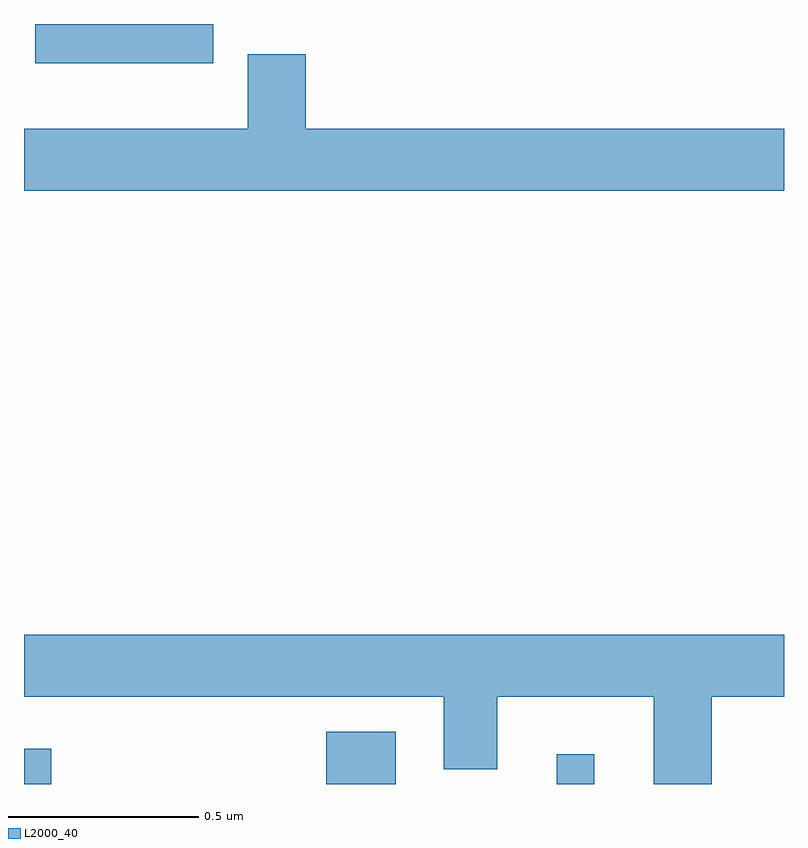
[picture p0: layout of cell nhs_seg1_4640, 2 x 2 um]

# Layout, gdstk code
import gdstk
lib = gdstk.Library(unit=1e-6, precision=1e-09)
def R(c, l, rs):  # rectangles x0, y0, x1, y1
    for r in rs: c.add(gdstk.rectangle(r[:2], r[2:], *l))
def P(c, l, *ps):  # polygons
    for p in ps: c.add(gdstk.Polygon(p, *l))
L2000_40 = (2000, 40)

nhs_seg1_4640 = lib.new_cell('nhs_seg1_4640')
R(nhs_seg1_4640, L2000_40, [(169,522.199,169.072,522.292), (169.796,522.199,169.978,522.337), (170.402,522.199,170.5,522.277), (169.029,524.096,169.498,524.199)])
P(nhs_seg1_4640, L2000_40, [(171,523.924),(169.742,523.924),(169.742,524.119),(169.589,524.119),(169.589,523.924),(169,523.924),(169,523.76),(171,523.76)],
  [(170.81,522.428),(171,522.428),(171,522.592),(169,522.592),(169,522.428),(170.105,522.428),(170.105,522.238),(170.245,522.238),(170.245,522.428),(170.657,522.428),(170.657,522.199),(170.81,522.199)])

lib.write_gds('nhs_seg1_4640.gds')
